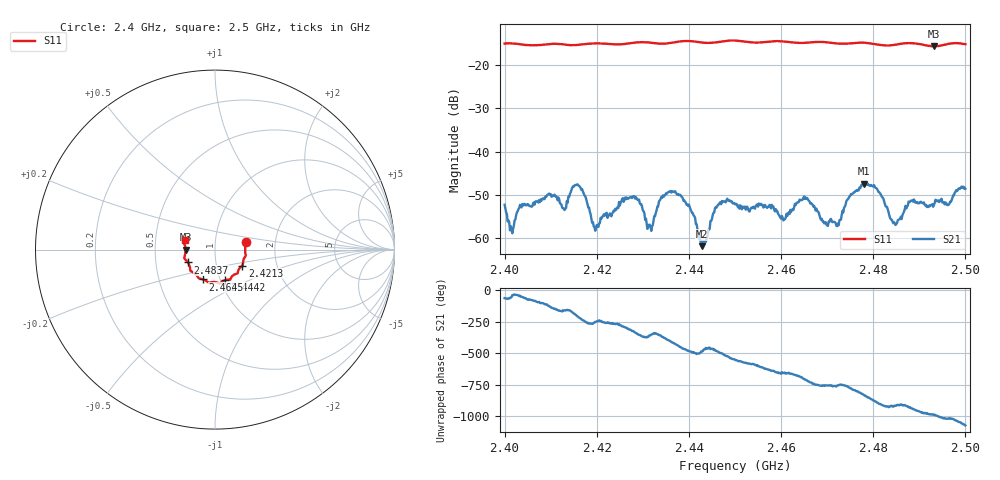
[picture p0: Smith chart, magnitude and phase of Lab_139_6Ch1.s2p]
# Hz S RI R 50
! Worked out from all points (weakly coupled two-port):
!   601 points, 2.4 GHz to 2.5 GHz, reference 50 ohm
!   highest |S21| = -47.38 dB at 2.478 GHz (marker M1); lowest = -61.8 dB at 2.4428 GHz (marker M2)
!   lowest |S11| = -15.7 dB at 2.4932 GHz (marker M3), VSWR 1.39, Z = 35.9 - j0.0493 ohm
!   |S11| at or under -10 dB: start of sweep to end of sweep
!   S12 and S22 are empty: the file has one direction only
!   S11 on the Smith chart (normalised r, x): 2.4 GHz: 1.41, +0.12; 2.4213 GHz: 1.33, -0.25; 2.4442 GHz: 1.05, -0.37; 2.4645 GHz: 0.83, -0.29; 2.4837 GHz: 0.73, -0.11; 2.5 GHz: 0.71, +0.07
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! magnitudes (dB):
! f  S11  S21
! 2.4 GHz  -15.1  -52.3
! 2.4015 GHz  -15.0  -57.8
! 2.4167 GHz  -15.3  -48.8
! 2.4193 GHz  -15.1  -57.2
! 2.4213 GHz  -15.1  -54.9
! 2.428 GHz  -14.9  -50.3
! 2.4315 GHz  -14.9  -56.9
! 2.4333 GHz  -15.1  -52.6
! 2.4382 GHz  -14.6  -50.0
! 2.4428 GHz  -14.9  -61.8
! 2.4442 GHz  -15.0  -58.1
! 2.4463 GHz  -14.7  -52.3
! 2.45 GHz  -14.4  -52.2
! 2.4605 GHz  -14.6  -55.9
! 2.4645 GHz  -15.0  -51.1
! 2.4667 GHz  -14.8  -52.0
! 2.4722 GHz  -15.1  -57.2
! 2.478 GHz  -14.9  -47.4
! 2.4833 GHz  -15.6  -54.0
! 2.4837 GHz  -15.5  -55.3
! 2.4932 GHz  -15.7  -52.3
! 2.5 GHz  -15.2  -48.6
